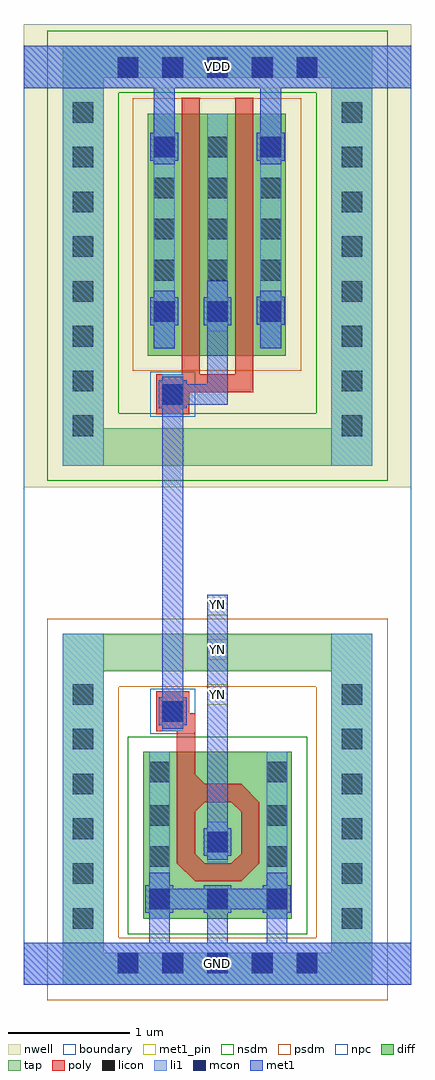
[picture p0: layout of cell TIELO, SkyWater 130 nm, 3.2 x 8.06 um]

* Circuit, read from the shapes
.subckt TIELO GND VDD YN
XM1 GND n1 YN GND sky130_fd_pr__nfet_01v8 w=2.56 l=0.147
XM2 n1 n1 VDD VDD sky130_fd_pr__pfet_01v8 w=2 l=0.15 m=2
.ends

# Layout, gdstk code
from math import pi, radians
import gdstk
lib = gdstk.Library(unit=1e-6, precision=1e-09)
def R(c, l, rs):  # rectangles x0, y0, x1, y1
    for r in rs: c.add(gdstk.rectangle(r[:2], r[2:], *l))
def A(c, l, x, y, w, h, nx, ny, dx, dy):  # array of equal rectangles
    R(c, l, [(x+i*dx, y+j*dy, x+i*dx+w, y+j*dy+h) for i in range(nx) for j in range(ny)])
def P(c, l, *ps):  # polygons
    for p in ps: c.add(gdstk.Polygon(p, *l))
nwell = (64, 20)
diff = (65, 20)
tap = (65, 44)
poly = (66, 20)
licon = (66, 44)
li1 = (67, 20)
mcon = (67, 44)
met1_pin = (68, 16)
met1 = (68, 20)
nsdm = (93, 44)
psdm = (94, 20)
npc = (95, 20)
boundary = (235, 4)

poly_li1_contact = lib.new_cell('poly_li1_contact')
R(poly_li1_contact, poly, [(-0.16,-0.14,0.17,0.13)])
R(poly_li1_contact, licon, [(-0.08,-0.09,0.09,0.08)])
R(poly_li1_contact, li1, [(-0.16,-0.09,0.17,0.08)])
R(poly_li1_contact, npc, [(-0.18,-0.19,0.19,0.18)])

pmos2 = lib.new_cell('pmos2')
R(pmos2, nwell, [(0.26,-2.18,1.76,0.18)])
R(pmos2, diff, [(0.44,-2,1.58,0)])
R(pmos2, poly, [(0.72,-2.305,1.31,-2.155), (0.72,-2.155,0.87,0.13), (1.16,-2.155,1.31,0.13)])
A(pmos2, licon, 0.49, -1.38, 0.17, 0.17, 3, 4, 0.44, 0.34)
R(pmos2, li1, [(0.49,-1.465,0.66,0.21), (0.93,-1.465,1.1,0), (1.37,-1.465,1.54,0.21)])
R(pmos2, psdm, [(0.315,-2.125,1.705,0.125)])

nmos_top = lib.new_cell('nmos_top')
R(nmos_top, diff, [(0,0,1.23,1.38)])
R(nmos_top, poly, [(0.42,0.31,0.8,0.46), (0.27,0.46,0.42,0.965), (0.8,0.46,0.95,0.965), (0.42,0.965,0.95,1.115), (0.8,1.115,0.95,1.54)])
P(nmos_top, poly, [(0.72,1.115),(0.8,1.115),(0.8,1.195)],
  [(0.27,0.965),(0.42,0.965),(0.42,1.115)],
  [(0.42,0.885),(0.42,0.965),(0.5,0.965)],
  [(0.72,0.965),(0.8,0.965),(0.8,0.885)],
  [(0.42,0.54),(0.42,0.46),(0.5,0.46)],
  [(0.72,0.46),(0.8,0.46),(0.8,0.54)],
  [(0.27,0.46),(0.42,0.46),(0.42,0.31)],
  [(0.8,0.31),(0.8,0.46),(0.95,0.46)])
R(nmos_top, licon, [(0.04,0.08,0.21,0.25), (0.53,0.08,0.7,0.25), (1.01,0.08,1.18,0.25), (0.04,0.43,0.21,0.6), (1.01,0.43,1.18,0.6), (0.53,0.55,0.7,0.72), (0.04,0.77,0.21,0.94), (1.01,0.77,1.18,0.94), (0.04,1.13,0.21,1.3), (1.01,1.13,1.18,1.3)])
R(nmos_top, li1, [(0.04,0,0.21,0.08), (1.01,0,1.18,0.08), (0.04,0.08,1.18,0.25), (0.04,0.25,0.21,1.38), (1.01,0.25,1.18,1.38), (0.53,0.47,0.7,0.805)])
R(nmos_top, nsdm, [(-0.125,-0.125,1.355,1.505)])

diff_ring_side = lib.new_cell('diff_ring_side')
R(diff_ring_side, nwell, [(-0.435,3.93,0.435,7.75)])
R(diff_ring_side, tap, [(-0.17,-0.17,0.17,2.72), (-0.17,4.11,0.17,7.57)])
A(diff_ring_side, licon, -0.085, 0.285, 0.17, 0.17, 1, 6, 0, 0.37)
A(diff_ring_side, licon, -0.085, 4.355, 0.17, 0.17, 1, 8, 0, 0.37)
R(diff_ring_side, li1, [(-0.17,-0.17,0.17,2.72), (-0.17,4.11,0.17,7.57)])
R(diff_ring_side, met1, [(-0.17,-0.17,0.17,0.17), (-0.17,7.23,0.17,7.57)])
R(diff_ring_side, nsdm, [(-0.295,3.985,0.295,7.695)])
R(diff_ring_side, psdm, [(-0.295,-0.295,0.295,2.845)])

tielo = lib.new_cell('TIELO')
R(tielo, nwell, [(0,4.11,3.2,7.94)])
A(tielo, diff, 1.075, 5.48, 0.17, 0.17, 3, 1, 0.44, 0)
R(tielo, tap, [(0.32,0,2.88,0.055), (0.66,0.055,2.54,0.265), (0.66,2.59,2.54,2.9), (0.66,4.29,2.54,4.6), (0.66,7.495,2.54,7.725), (0.32,7.725,2.88,7.76)])
R(tielo, poly, [(1.265,2.085,1.415,2.245)])
A(tielo, licon, 0.775, 0.095, 0.17, 0.17, 5, 2, 0.37, 7.4)
A(tielo, licon, 1.075, 5.48, 0.17, 0.17, 3, 1, 0.44, 0)
R(tielo, li1, [(0,0,3.2,0.35), (1.035,0.625,1.205,0.795), (1.515,0.625,1.685,0.795), (2.005,0.625,2.175,0.795), (1.515,1.095,1.685,1.265), (1.145,2.175,1.315,2.345), (1.145,4.795,1.315,4.965), (1.075,5.255,1.245,6.16), (1.955,5.26,2.125,6.16), (1.515,5.4,1.685,6.16), (1.075,6.84,1.245,7.01), (1.955,6.84,2.125,7.01), (0,7.41,3.2,7.76)])
A(tielo, mcon, 0.775, 0.095, 0.17, 0.17, 5, 2, 0.37, 7.4)
A(tielo, mcon, 1.075, 5.48, 0.17, 0.17, 3, 1, 0.44, 0)
R(tielo, mcon, [(1.035,0.625,1.205,0.795), (1.515,0.625,1.685,0.795), (2.005,0.625,2.175,0.795), (1.515,1.095,1.685,1.265), (1.145,2.175,1.315,2.345), (1.145,4.795,1.315,4.965), (1.075,6.84,1.245,7.01), (1.955,6.84,2.125,7.01)])
A(tielo, met1_pin, 1.515, 2.315, 0.17, 0.17, 1, 3, 0, 0.37)
R(tielo, met1_pin, [(0,0,3.2,0.35), (0,7.41,3.2,7.76)])
R(tielo, met1, [(0,0,3.2,0.35), (1.035,0.35,1.205,0.595), (1.515,0.35,1.685,0.595), (2.005,0.35,2.175,0.595), (1.005,0.595,1.235,0.625), (1.485,0.595,1.715,0.625), (1.975,0.595,2.205,0.625), (1.005,0.625,2.205,0.795), (1.005,0.795,1.235,0.825), (1.485,0.795,1.715,0.825), (1.975,0.795,2.205,0.825), (1.035,0.825,1.205,0.925), (2.005,0.825,2.175,0.925), (1.515,1.035,1.685,1.065), (1.485,1.065,1.715,1.295), (1.515,1.295,1.685,3.225), (1.145,2.115,1.315,2.145), (1.115,2.145,1.345,2.375), (1.145,2.375,1.315,4.765), (1.115,4.765,1.345,4.795), (1.115,4.795,1.685,4.965), (1.115,4.965,1.345,4.995), (1.515,4.965,1.685,5.45), (1.145,4.995,1.315,5.025), (1.075,5.26,1.245,5.45), (1.955,5.26,2.125,5.455), (1.045,5.45,1.275,5.68), (1.485,5.45,1.715,5.68), (1.925,5.455,2.155,5.685), (1.075,5.68,1.245,5.735), (1.515,5.68,1.685,5.82), (1.955,5.685,2.125,5.735), (1.075,6.78,1.245,6.81), (1.955,6.78,2.125,6.81), (1.045,6.81,1.275,7.04), (1.925,6.81,2.155,7.04), (1.075,7.04,1.245,7.41), (1.955,7.04,2.125,7.41), (0,7.41,3.2,7.76)])
R(tielo, nsdm, [(0.535,4.165,2.665,4.725), (0.535,7.37,2.665,7.6), (0.195,7.6,3.005,7.885)])
R(tielo, psdm, [(0.195,-0.125,3.005,0.18), (0.535,0.18,2.665,0.39), (0.535,2.465,2.665,3.025), (0.95,5.355,2.25,5.775)])
R(tielo, boundary, [(0,0,3.2,7.76)])
tielo.add(gdstk.Reference(poly_li1_contact, (1.235,2.265), rotation=3*pi/2))
tielo.add(gdstk.Reference(poly_li1_contact, (1.235,4.885), rotation=3*pi/2))
tielo.add(gdstk.Reference(pmos2, (0.585,7.2)))
tielo.add(gdstk.Reference(nmos_top, (2.215,0.545), rotation=pi, x_reflection=True))
tielo.add(gdstk.Reference(diff_ring_side, (0.49,0.18)))
tielo.add(gdstk.Reference(diff_ring_side, (2.71,0.18)))
tielo.add(gdstk.Label('YN', (1.6,2.4), layer=68, texttype=5))
tielo.add(gdstk.Label('YN', (1.6,2.77), layer=68, texttype=5))
tielo.add(gdstk.Label('YN', (1.6,3.14), layer=68, texttype=5))
tielo.add(gdstk.Label('VDD', (1.6,7.585), layer=68, texttype=5))
tielo.add(gdstk.Label('GND', (1.6,0.175), layer=68, texttype=5))

lib.write_gds('TIELO.gds')
